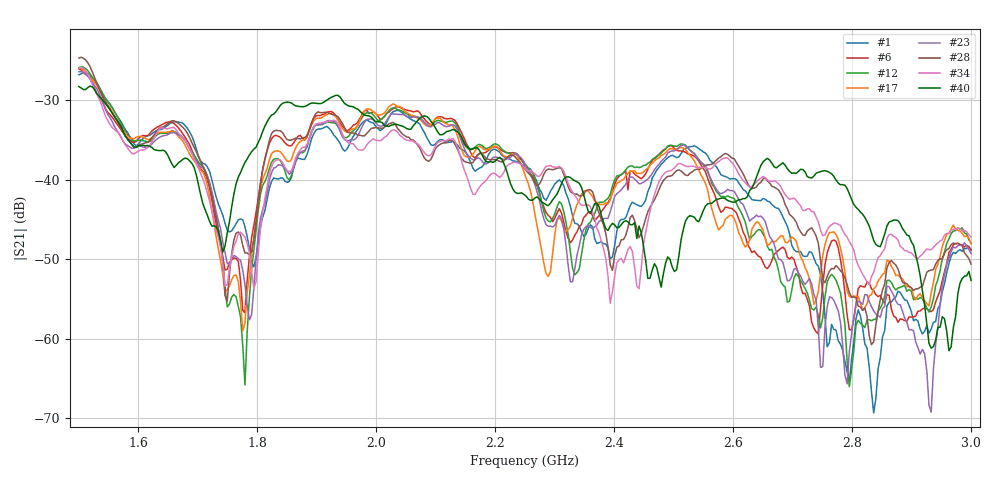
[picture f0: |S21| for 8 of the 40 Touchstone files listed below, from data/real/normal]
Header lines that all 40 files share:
# HZ S RI R 50
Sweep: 1.5 GHz to 3 GHz
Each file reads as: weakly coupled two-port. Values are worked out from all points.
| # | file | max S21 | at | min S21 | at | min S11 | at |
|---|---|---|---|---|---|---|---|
| 1 | Normal_003.s2p | -26.60 dB | 1.511 GHz | -69.4 dB | 2.836 GHz | -51.0 dB | 2.23 GHz |
| 2 | Normal_004.s2p | -26.47 dB | 1.504 GHz | -83.8 dB | 2.747 GHz | -49.4 dB | 2.23 GHz |
| 3 | Normal_005.s2p | -26.43 dB | 1.5 GHz | -78.6 dB | 2.862 GHz | -43.7 dB | 2.23 GHz |
| 4 | Normal_006.s2p | -27.55 dB | 1.5 GHz | -62.5 dB | 1.783 GHz | -43.4 dB | 2.23 GHz |
| 5 | Normal_007.s2p | -27.03 dB | 1.5 GHz | -64.8 dB | 1.783 GHz | -45.8 dB | 2.23 GHz |
| 6 | Normal_008.s2p | -26.09 dB | 1.5 GHz | -59.4 dB | 2.743 GHz | -42.4 dB | 2.23 GHz |
| 7 | Normal_010.s2p | -26.59 dB | 1.507 GHz | -63.2 dB | 2.743 GHz | -51.7 dB | 2.23 GHz |
| 8 | Normal_011.s2p | -26.67 dB | 1.504 GHz | -64.5 dB | 2.747 GHz | -41.8 dB | 2.23 GHz |
| 9 | Normal_012.s2p | -26.76 dB | 1.504 GHz | -67.3 dB | 2.929 GHz | -42.2 dB | 2.23 GHz |
| 10 | Normal_014.s2p | -25.56 dB | 1.5 GHz | -68.3 dB | 2.743 GHz | -45.1 dB | 2.23 GHz |
| 11 | Normal_016.s2p | -25.90 dB | 1.504 GHz | -69.3 dB | 2.792 GHz | -39.0 dB | 2.23 GHz |
| 12 | Normal_017.s2p | -25.83 dB | 1.504 GHz | -66.1 dB | 2.795 GHz | -39.4 dB | 2.23 GHz |
| 13 | Normal_018.s2p | -26.28 dB | 1.507 GHz | -60.6 dB | 2.795 GHz | -38.5 dB | 2.23 GHz |
| 14 | Normal_020.s2p | -25.53 dB | 1.504 GHz | -63.9 dB | 1.779 GHz | -37.7 dB | 2.23 GHz |
| 15 | Normal_021.s2p | -26.57 dB | 1.504 GHz | -68.4 dB | 1.775 GHz | -38.2 dB | 2.23 GHz |
| 16 | Normal_022.s2p | -26.20 dB | 1.5 GHz | -62.9 dB | 1.775 GHz | -36.5 dB | 2.23 GHz |
| 17 | Normal_023.s2p | -25.99 dB | 1.5 GHz | -59.1 dB | 1.775 GHz | -38.3 dB | 2.23 GHz |
| 18 | Normal_024.s2p | -25.91 dB | 1.504 GHz | -59.2 dB | 2.743 GHz | -39.5 dB | 2.23 GHz |
| 19 | Normal_025.s2p | -26.40 dB | 1.504 GHz | -60.5 dB | 1.775 GHz | -38.9 dB | 2.23 GHz |
| 20 | Normal_029.s2p | -26.61 dB | 1.5 GHz | -73.4 dB | 2.743 GHz | -40.2 dB | 2.23 GHz |
| 21 | Normal_030.s2p | -26.03 dB | 1.5 GHz | -69.0 dB | 2.751 GHz | -41.7 dB | 2.23 GHz |
| 22 | Normal_031.s2p | -26.01 dB | 1.504 GHz | -71.3 dB | 2.747 GHz | -41.8 dB | 2.23 GHz |
| 23 | Normal_032.s2p | -26.44 dB | 1.504 GHz | -69.3 dB | 2.933 GHz | -41.3 dB | 2.23 GHz |
| 24 | Normal_034.s2p | -26.21 dB | 1.504 GHz | -66.6 dB | 1.787 GHz | -39.9 dB | 2.23 GHz |
| 25 | Normal_037.s2p | -26.01 dB | 1.5 GHz | -74.5 dB | 2.792 GHz | -41.8 dB | 2.23 GHz |
| 26 | Normal_038.s2p | -26.07 dB | 1.5 GHz | -64.3 dB | 2.747 GHz | -41.3 dB | 2.23 GHz |
| 27 | Normal_041.s2p | -26.21 dB | 1.504 GHz | -58.9 dB | 2.397 GHz | -39.7 dB | 2.23 GHz |
| 28 | Normal_043.s2p | -24.62 dB | 1.504 GHz | -60.8 dB | 2.833 GHz | -49.7 dB | 2.23 GHz |
| 29 | Normal_044.s2p | -24.84 dB | 1.5 GHz | -62.3 dB | 2.825 GHz | -66.1 dB | 2.23 GHz |
| 30 | Normal_046.s2p | -24.88 dB | 1.5 GHz | -60.9 dB | 2.445 GHz | -51.8 dB | 2.23 GHz |
| 31 | Normal_049.s2p | -25.80 dB | 1.504 GHz | -59.1 dB | 1.749 GHz | -45.7 dB | 2.23 GHz |
| 32 | Normal_051.s2p | -25.64 dB | 1.5 GHz | -73.6 dB | 1.79 GHz | -45.2 dB | 2.23 GHz |
| 33 | Normal_053.s2p | -25.96 dB | 1.504 GHz | -61.2 dB | 1.794 GHz | -51.4 dB | 2.23 GHz |
| 34 | Normal_055.s2p | -25.91 dB | 1.504 GHz | -55.6 dB | 2.393 GHz | -43.6 dB | 2.23 GHz |
| 35 | Normal_057.s2p | -25.59 dB | 1.5 GHz | -62.0 dB | 1.798 GHz | -44.0 dB | 2.23 GHz |
| 36 | Normal_058.s2p | -26.16 dB | 1.5 GHz | -56.9 dB | 2.836 GHz | -51.2 dB | 2.23 GHz |
| 37 | Normal_059.s2p | -25.73 dB | 1.5 GHz | -55.0 dB | 1.749 GHz | -50.2 dB | 2.23 GHz |
| 38 | Normal_060.s2p | -25.72 dB | 1.504 GHz | -57.6 dB | 1.783 GHz | -48.1 dB | 2.23 GHz |
| 39 | Normal_063.s2p | -28.08 dB | 1.5 GHz | -61.8 dB | 2.933 GHz | -34.5 dB | 2.23 GHz |
| 40 | Normal_064.s2p | -28.25 dB | 1.519 GHz | -61.5 dB | 2.963 GHz | -34.3 dB | 1.504 GHz |
